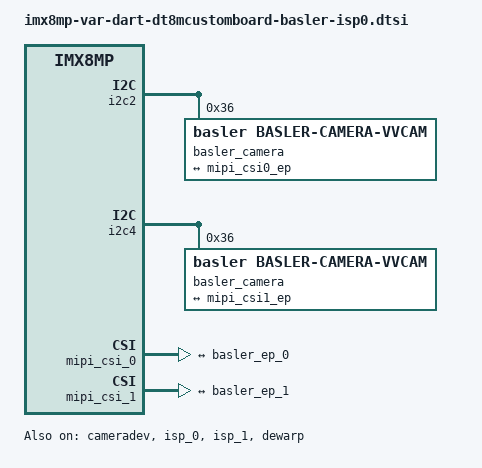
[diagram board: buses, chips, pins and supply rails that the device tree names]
// SPDX-License-Identifier: (GPL-2.0+ OR MIT)
/*
 * Copyright 2019 NXP
 * Copyright 2020-2021 Variscite Ltd.
 */

&i2c2 {
	/delete-node/ov5640_mipi@3c;

	basler_camera@36 {
		compatible = "basler,basler-camera-vvcam", "basler-camera-vvcam";
		reg = <0x36>;
		csi_id = <0x00>;
		status = "okay";

		port {
			basler_ep_0: endpoint {
				data-lanes = <1 2 3 4>;
				clock-lanes = <0>;
				link-frequencies = /bits/ 64 <750000000>;
				max-lane-frequency = /bits/ 64 <750000000>;
				max-pixel-frequency = /bits/ 64 <266000000>;
				max-data-rate = /bits/ 64 <0>;
				remote-endpoint = <&mipi_csi0_ep>;
			};
		};
	};
};

&i2c4 {
	/delete-node/ov5640_mipi@3c;

	basler_camera@36 {
		compatible = "basler,basler-camera-vvcam", "basler-camera-vvcam";
		reg = <0x36>;
		csi_id = <0x01>;
		status = "okay";

		port {
			basler_ep_1: endpoint {
				data-lanes = <1 2 3 4>;
				clock-lanes = <0>;
				link-frequencies = /bits/ 64 <750000000>;
				max-lane-frequency = /bits/ 64 <750000000>;
				max-pixel-frequency = /bits/ 64 <266000000>;
				max-data-rate = /bits/ 64 <0>;
				remote-endpoint = <&mipi_csi1_ep>;
			};
		};
	};
};

&mipi_csi_0 {
	status = "okay";
	clock-frequency = <266000000>;
	assigned-clock-parents = <&clk IMX8MP_SYS_PLL1_266M>;
	assigned-clock-rates = <266000000>;

	port@0 {
		reg = <0>;
		mipi_csi0_ep: endpoint {
			remote-endpoint = <&basler_ep_0>;
			data-lanes = <4>;
			csis-hs-settle = <16>;
		};
	};
};

&mipi_csi_1 {
	status = "okay";

	port@1 {
		reg = <1>;
		mipi_csi1_ep: endpoint {
			remote-endpoint = <&basler_ep_1>;
			data-lanes = <4>;
			csis-hs-settle = <16>;
		};
	};
};

&cameradev {
	status = "okay";
};

&isi_0 {
	status = "disabled";
};

&isi_1 {
	status = "disabled";
};

&isp_0 {
	status = "okay";
};

&isp_1 {
	status = "okay";
};

&dewarp {
	status = "okay";
};
